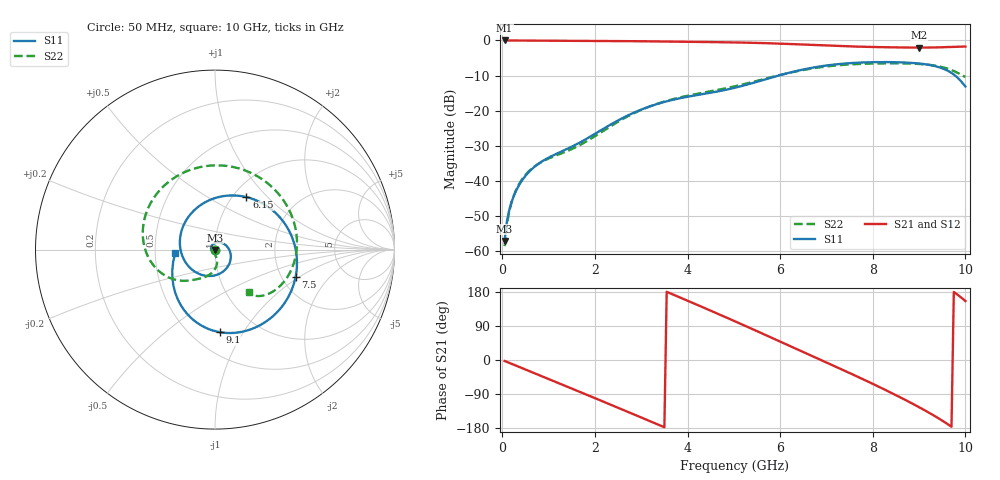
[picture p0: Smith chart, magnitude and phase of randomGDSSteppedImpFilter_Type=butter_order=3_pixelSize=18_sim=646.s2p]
! freq	dB(S11)	phase(S11)	dB(S12)	phase(S12)
!  dB(S21)	phase(S21)	dB(S22)	phase(S22)
!S-par simulation data
#  GHz  S  DB  R 50
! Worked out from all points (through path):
!   200 points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, 50 MHz to 10 GHz, reference 50 ohm
!   highest |S21| = 0.00 dB at 50 MHz (marker M1); lowest = -2.0 dB at 9 GHz (marker M2)
!   group delay of S21, straight-line fit = 152 ps
!   lowest |S11| = -57.2 dB at 50 MHz (marker M3), VSWR 1.00, Z = 50 - j0.139 ohm
!   |S11| at or under -10 dB: start of sweep to 5.966 GHz; 9.777 GHz to end of sweep
!   |S22| runs from -58.6 to -6.5 dB; largest |S21 - S12| = 0
!   S11 on the Smith chart (normalised r, x): 50 MHz: 1.00, -0.00; 6.15 GHz: 1.15, +0.76; 7.5 GHz: 2.36, -0.94; 9.1 GHz: 0.68, -0.79; 10 GHz: 0.64, -0.02
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0.05  -57.16 -88.0  -0.00 -2.5  -0.00 -2.5  -58.63 -85.2
0.1  -51.56 -92.8  -0.01 -5.1  -0.01 -5.1  -52.45 -86.9
0.2  -46.07 -103.4  -0.01 -10.1  -0.01 -10.1  -46.14 -89.2
0.45  -39.44 -129.2  -0.03 -22.6  -0.03 -22.6  -39.14 -95.3
1.15  -32.42 158.6  -0.07 -57.7  -0.07 -57.7  -32.83 -97.8
1.75  -28.55 87.7  -0.11 -88.0  -0.11 -88.0  -29.28 -84.8
2.5  -22.79 9.7  -0.17 -126.1  -0.17 -126.1  -23.15 -80.2
2.95  -19.97 -29.2  -0.22 -149.1  -0.22 -149.1  -20.08 -87.2
3.4  -17.89 -65.9  -0.29 -172.3  -0.29 -172.3  -17.82 -97.0
4.15  -15.69 -128.1  -0.41 148.7  -0.41 148.7  -15.36 -113.4
4.6  -14.65 -168.2  -0.48 124.9  -0.48 124.9  -14.22 -121.8
5.05  -13.39 150.2  -0.57 100.7  -0.57 100.7  -12.98 -129.9
5.6  -11.39 101.6  -0.74 70.6  -0.74 70.6  -11.17 -142.4
6.15  -9.35 59.2  -0.98 40.3  -0.98 40.3  -9.37 -160.9
6.7  -7.76 23.3  -1.29 9.9  -1.29 9.9  -7.96 174.5
7.5  -6.48 -19.0  -1.69 -34.4  -1.69 -34.4  -6.84 128.2
7.95  -6.21 -38.8  -1.85 -60.0  -1.85 -60.0  -6.59 96.8
8.35  -6.17 -55.0  -1.95 -83.6  -1.95 -83.6  -6.52 65.8
9  -6.57 -81.9  -2.03 -124.5  -2.03 -124.5  -6.70 11.6
9.1  -6.73 -86.6  -2.03 -131.2  -2.03 -131.2  -6.79 3.3
9.6  -8.50 -117.9  -1.90 -167.8  -1.90 -167.8  -7.96 -35.5
10  -13.11 -175.8  -1.75 155.6  -1.75 155.6  -10.41 -51.2
